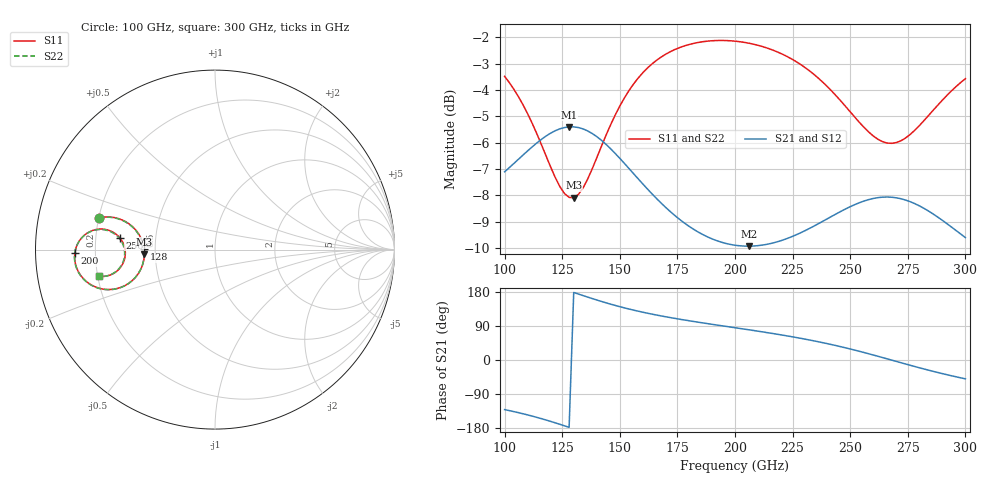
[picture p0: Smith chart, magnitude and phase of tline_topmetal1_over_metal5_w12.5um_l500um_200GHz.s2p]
#  GHZ S DB R 50
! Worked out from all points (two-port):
!   101 points, 100 GHz to 300 GHz, reference 50 ohm
!   highest |S21| = -5.40 dB at 128 GHz (marker M1); lowest = -9.9 dB at 206 GHz (marker M2)
!   |S21| within 3 dB of the highest: start of sweep to 169.2 GHz; 250.7 GHz to 280.1 GHz (29.36 GHz wide, 11.1 % of centre)
!   lowest |S11| = -8.1 dB at 130 GHz (marker M3), VSWR 2.30, Z = 21.7 - j1.35 ohm
!   |S11| at or under -10 dB: nowhere
!   |S22| runs from -8.1 to -2.1 dB; largest |S21 - S12| = 5.8e-14
!   S11 on the Smith chart (normalised r, x): 100 GHz: 0.20, +0.13; 128 GHz: 0.43, +0.00; 200 GHz: 0.12, -0.01; 256 GHz: 0.30, +0.06; 300 GHz: 0.21, -0.11
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100  -3.48 164.7  -7.10 -131.0  -7.10 -131.0  -3.48 164.8
108  -4.56 162.4  -6.47 -141.9  -6.47 -141.9  -4.55 162.5
114  -5.66 162.7  -6.01 -151.4  -6.01 -151.4  -5.65 162.8
122  -7.32 168.9  -5.54 -165.9  -5.54 -165.9  -7.30 169.1
128  -8.07 179.6  -5.40 -177.8  -5.40 -177.8  -8.05 179.7
130  -8.09 -176.2  -5.40 178.2  -5.40 178.2  -8.06 -176.1
134  -7.72 -168.4  -5.47 170.1  -5.47 170.1  -7.70 -168.3
142  -6.14 -159.4  -5.91 154.6  -5.91 154.6  -6.12 -159.4
150  -4.61 -158.3  -6.59 140.7  -6.59 140.7  -4.59 -158.3
158  -3.54 -160.7  -7.37 128.8  -7.37 128.8  -3.53 -160.7
168  -2.75 -165.1  -8.29 116.3  -8.29 116.3  -2.74 -165.1
184  -2.20 -172.2  -9.39 99.8  -9.39 99.8  -2.19 -172.1
200  -2.15 -178.6  -9.89 85.2  -9.89 85.2  -2.13 -178.4
206  -2.22 179.2  -9.92 79.7  -9.92 79.7  -2.21 179.4
220  -2.62 174.4  -9.71 66.3  -9.71 66.3  -2.60 174.6
234  -3.39 170.6  -9.17 50.8  -9.17 50.8  -3.36 170.8
246  -4.42 169.7  -8.60 35.0  -8.60 35.0  -4.38 170.0
256  -5.42 172.8  -8.21 19.7  -8.21 19.7  -5.36 173.0
268  -6.02 -177.9  -8.07 -0.3  -8.07 -0.3  -5.96 -177.8
276  -5.69 -171.3  -8.24 -13.9  -8.24 -13.9  -5.63 -171.3
284  -4.97 -167.4  -8.59 -26.8  -8.59 -26.8  -4.92 -167.4
300  -3.57 -167.1  -9.60 -49.7  -9.60 -49.7  -3.54 -167.1
